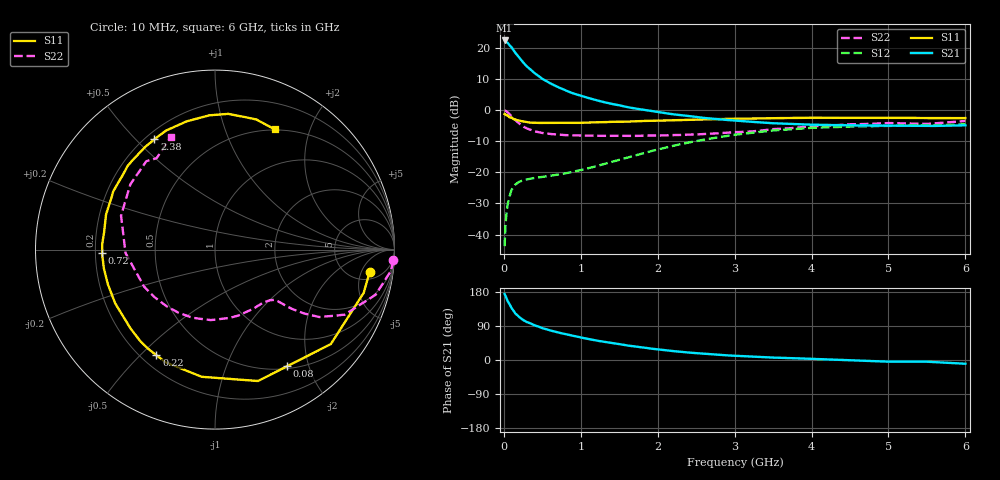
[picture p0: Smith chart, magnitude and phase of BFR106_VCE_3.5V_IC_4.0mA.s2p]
! Infineon Technologies  Discrete & RF Semiconductors
! BFR106
! VCE =  3.5 V,  IC =  4.0 mA
! Common Emitter S-Parameters:  Nov 2015
# GHz  S  MA  R  50
!  f  S11  S21  S12  S22
! GHz  MAG  ANG  MAG  ANG  MAG  ANG  MAG  ANG
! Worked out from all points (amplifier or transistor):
!   210 points, 10 MHz to 6 GHz, reference 50 ohm
!   highest |S21| = 22.5 dB at 10 MHz (marker M1)
!   |S21| within 3 dB of that: start of sweep to 121.7 MHz
!   unconditionally stable (mu >= 1): 672.4 MHz to 1.999 GHz; 4.326 GHz to end of sweep
!   at 185 MHz: K = 0.34, MSG = 20.3 dB, |S12| = -23.3 dB
!   at 1.52 GHz: K = 1.14, MAG = 6.4 dB, |S12| = -15.8 dB
!   at 6 GHz: K = 1.02, MAG = -1.1 dB, |S12| = -4.5 dB
!   S11 on the Smith chart (normalised r, x): 10 MHz: 6.92, -7.17; 80 MHz: 0.53, -1.67; 220 MHz: 0.26, -0.56; 720 MHz: 0.23, -0.01; 2.38 GHz: 0.23, +0.57; 6 GHz: 0.49, +1.50
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0.01  0.8703 -8.3  13.32 174.2  0.0065 87.7  0.9946 -3.5
0.02  0.8628 -16.2  13.11 169.9  0.0132 80.4  0.9878 -6.8
0.05  0.8328 -39.2  12.18 155.2  0.0309 70.0  0.9295 -15.7
0.08  0.764 -58.3  10.94 144.9  0.0434 59.7  0.8525 -21.9
0.1  0.7703 -71.9  10.35 136.9  0.0522 55.6  0.8077 -26.7
0.15  0.7125 -96.0  8.408 122.5  0.064 45.4  0.6919 -32.9
0.2  0.6856 -113.8  7.021 113.2  0.0707 40.4  0.6122 -35.6
0.22  0.673 -119.0  6.564 110.4  0.0723 39.0  0.5867 -36.3
0.26  0.659 -128.9  5.741 104.4  0.0754 36.7  0.5409 -37.6
0.3  0.644 -136.9  5.074 100.0  0.0773 35.9  0.5104 -38.3
0.4  0.6316 -151.7  3.962 91.4  0.0815 34.9  0.4598 -39.2
0.5  0.6274 -161.9  3.217 84.1  0.0846 36.3  0.4316 -40.5
0.6  0.6278 -170.4  2.733 78.1  0.0883 38.9  0.4164 -42.6
0.72  0.6288 -178.5  2.318 71.9  0.0929 42.5  0.4051 -45.8
1.02  0.631 165.8  1.685 58.6  0.1105 51.8  0.3931 -55.1
1.4  0.6533 150.2  1.268 45.0  0.1472 60.2  0.39 -70.2
2.02  0.6811 129.4  0.933 27.6  0.2374 61.3  0.3934 -99.6
2.38  0.7014 118.8  0.816 20.0  0.2992 57.5  0.405 -119.1
3.1  0.7333 100.4  0.669 10.1  0.4166 44.4  0.4486 -157.9
4.1  0.7584 83.2  0.584 2.4  0.5261 24.0  0.5601 156.4
5.1  0.7581 71.3  0.565 -4.4  0.5639 7.7  0.6193 126.8
6  0.7493 63.6  0.573 -9.9  0.5958 -3.3  0.6749 111.2
